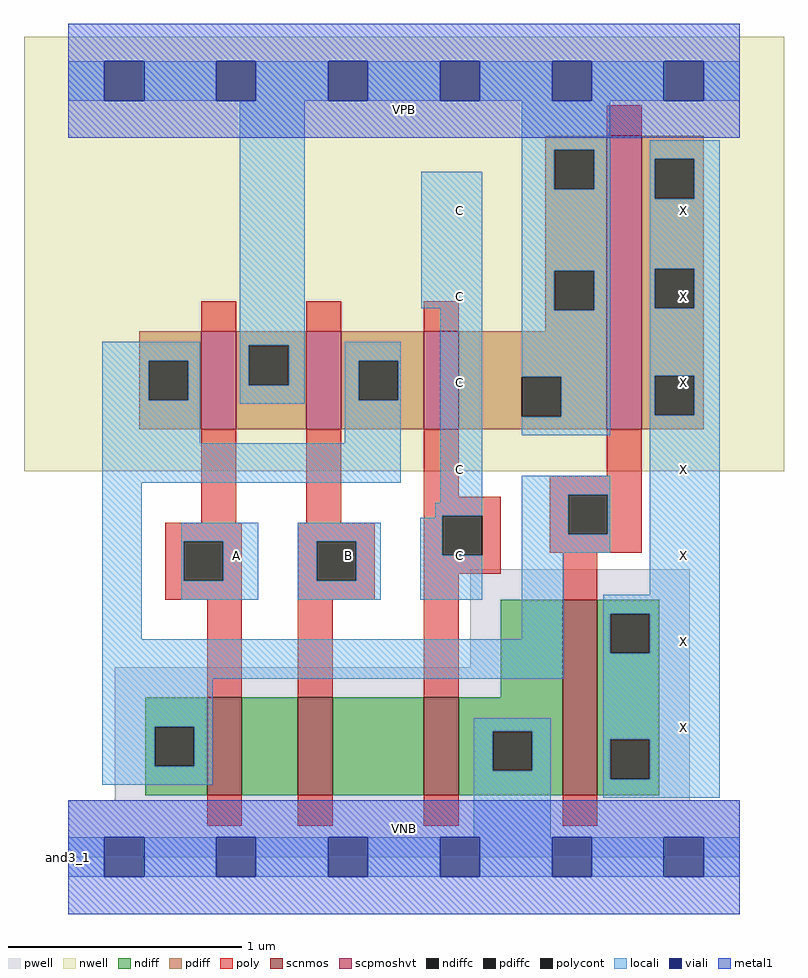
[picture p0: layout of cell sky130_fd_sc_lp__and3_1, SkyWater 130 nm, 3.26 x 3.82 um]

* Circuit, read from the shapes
.subckt sky130_fd_sc_lp__and3_1 A B C VGND VNB VPB VPWR X
XM1 n1 A n2 VNB sky130_fd_pr__nfet_01v8 w=0.42 l=0.15
XM2 n3 B n1 VNB sky130_fd_pr__nfet_01v8 w=0.42 l=0.15
XM3 VGND C n3 VNB sky130_fd_pr__nfet_01v8 w=0.42 l=0.15
XM4 X n2 VGND VNB sky130_fd_pr__nfet_01v8 w=0.84 l=0.15
XM5 VPWR A n2 VPB sky130_fd_pr__pfet_01v8_hvt w=0.42 l=0.15
XM6 n2 B VPWR VPB sky130_fd_pr__pfet_01v8_hvt w=0.42 l=0.15
XM7 VPWR C n2 VPB sky130_fd_pr__pfet_01v8_hvt w=0.42 l=0.15
XM8 X n2 VPWR VPB sky130_fd_pr__pfet_01v8_hvt w=1.26 l=0.15
.ends

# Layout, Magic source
magic
tech sky130A
magscale 1 2
<< nwell >>
rect -38 331 614 704
<< pwell >>
rect 345 163 533 247
rect 40 49 533 163
rect 0 0 576 49
<< scnmos >>
rect 119 53 149 137
rect 197 53 227 137
rect 305 53 335 137
rect 424 53 454 221
<< scpmoshvt >>
rect 114 367 144 451
rect 204 367 234 451
rect 305 367 335 451
rect 462 367 492 619
<< ndiff >>
rect 371 137 424 221
rect 66 112 119 137
rect 66 78 74 112
rect 108 78 119 112
rect 66 53 119 78
rect 149 53 197 137
rect 227 53 305 137
rect 335 108 424 137
rect 335 74 364 108
rect 398 74 424 108
rect 335 53 424 74
rect 454 209 507 221
rect 454 175 465 209
rect 499 175 507 209
rect 454 101 507 175
rect 454 67 465 101
rect 499 67 507 101
rect 454 53 507 67
<< pdiff >>
rect 409 607 462 619
rect 409 573 417 607
rect 451 573 462 607
rect 409 503 462 573
rect 409 469 417 503
rect 451 469 462 503
rect 409 451 462 469
rect 61 426 114 451
rect 61 392 69 426
rect 103 392 114 426
rect 61 367 114 392
rect 144 439 204 451
rect 144 405 155 439
rect 189 405 204 439
rect 144 367 204 405
rect 234 426 305 451
rect 234 392 249 426
rect 283 392 305 426
rect 234 367 305 392
rect 335 412 462 451
rect 335 378 389 412
rect 423 378 462 412
rect 335 367 462 378
rect 492 599 545 619
rect 492 565 503 599
rect 537 565 545 599
rect 492 505 545 565
rect 492 471 503 505
rect 537 471 545 505
rect 492 413 545 471
rect 492 379 503 413
rect 537 379 545 413
rect 492 367 545 379
<< ndiffc >>
rect 74 78 108 112
rect 364 74 398 108
rect 465 175 499 209
rect 465 67 499 101
<< pdiffc >>
rect 417 573 451 607
rect 417 469 451 503
rect 69 392 103 426
rect 155 405 189 439
rect 249 392 283 426
rect 389 378 423 412
rect 503 565 537 599
rect 503 471 537 505
rect 503 379 537 413
<< poly >>
rect 462 619 492 645
rect 114 451 144 477
rect 204 451 234 477
rect 305 451 335 477
rect 114 287 144 367
rect 204 287 234 367
rect 305 309 335 367
rect 462 327 492 367
rect 413 311 492 327
rect 305 293 371 309
rect 83 271 149 287
rect 83 237 99 271
rect 133 237 149 271
rect 83 221 149 237
rect 119 137 149 221
rect 197 271 263 287
rect 197 237 213 271
rect 247 237 263 271
rect 197 221 263 237
rect 305 259 321 293
rect 355 259 371 293
rect 413 277 429 311
rect 463 277 492 311
rect 413 261 492 277
rect 305 243 371 259
rect 197 137 227 221
rect 305 137 335 243
rect 424 221 454 261
rect 119 27 149 53
rect 197 27 227 53
rect 305 27 335 53
rect 424 27 454 53
<< polycont >>
rect 99 237 133 271
rect 213 237 247 271
rect 321 259 355 293
rect 429 277 463 311
<< locali >>
rect 0 649 31 683
rect 65 649 127 683
rect 161 649 223 683
rect 257 649 319 683
rect 353 649 415 683
rect 449 649 511 683
rect 545 649 576 683
rect 29 426 113 442
rect 29 392 69 426
rect 103 392 113 426
rect 29 355 113 392
rect 147 439 203 649
rect 389 607 465 649
rect 303 471 355 588
rect 147 405 155 439
rect 189 405 203 439
rect 147 389 203 405
rect 237 426 285 442
rect 237 392 249 426
rect 283 392 285 426
rect 237 355 285 392
rect 29 321 285 355
rect 29 187 63 321
rect 319 304 355 471
rect 389 573 417 607
rect 451 573 465 607
rect 389 503 465 573
rect 389 469 417 503
rect 451 469 465 503
rect 389 412 465 469
rect 423 378 465 412
rect 389 362 465 378
rect 499 599 559 615
rect 499 565 503 599
rect 537 565 559 599
rect 499 505 559 565
rect 499 471 503 505
rect 537 471 559 505
rect 499 413 559 471
rect 499 379 503 413
rect 537 379 559 413
rect 315 293 355 304
rect 315 291 321 293
rect 97 271 163 287
rect 97 237 99 271
rect 133 237 163 271
rect 97 221 163 237
rect 197 271 268 287
rect 197 237 213 271
rect 247 237 268 271
rect 197 221 268 237
rect 302 259 321 291
rect 302 221 355 259
rect 389 311 465 327
rect 389 277 429 311
rect 463 277 465 311
rect 389 261 465 277
rect 389 187 425 261
rect 499 225 559 379
rect 29 153 425 187
rect 459 209 559 225
rect 459 175 465 209
rect 499 175 559 209
rect 29 112 124 153
rect 29 78 74 112
rect 108 78 124 112
rect 29 62 124 78
rect 348 108 414 119
rect 348 74 364 108
rect 398 74 414 108
rect 348 17 414 74
rect 459 101 559 175
rect 459 67 465 101
rect 499 67 559 101
rect 459 51 559 67
rect 0 -17 31 17
rect 65 -17 127 17
rect 161 -17 223 17
rect 257 -17 319 17
rect 353 -17 415 17
rect 449 -17 511 17
rect 545 -17 576 17
<< viali >>
rect 31 649 65 683
rect 127 649 161 683
rect 223 649 257 683
rect 319 649 353 683
rect 415 649 449 683
rect 511 649 545 683
rect 31 -17 65 17
rect 127 -17 161 17
rect 223 -17 257 17
rect 319 -17 353 17
rect 415 -17 449 17
rect 511 -17 545 17
<< metal1 >>
rect 0 683 576 715
rect 0 649 31 683
rect 65 649 127 683
rect 161 649 223 683
rect 257 649 319 683
rect 353 649 415 683
rect 449 649 511 683
rect 545 649 576 683
rect 0 617 576 649
rect 0 17 576 49
rect 0 -17 31 17
rect 65 -17 127 17
rect 161 -17 223 17
rect 257 -17 319 17
rect 353 -17 415 17
rect 449 -17 511 17
rect 545 -17 576 17
rect 0 -49 576 -17
<< labels >>
flabel pwell s 0 0 576 49 0 FreeSans 200 0 0 0 VNB
port 5 nsew ground bidirectional
flabel nwell s 0 617 576 666 0 FreeSans 200 0 0 0 VPB
port 6 nsew power bidirectional
rlabel comment s 0 0 0 0 4 and3_1
flabel metal1 s 0 617 576 666 0 FreeSans 340 0 0 0 VPWR
port 7 nsew power bidirectional
flabel metal1 s 0 0 576 49 0 FreeSans 340 0 0 0 VGND
port 4 nsew ground bidirectional
flabel locali s 127 242 161 276 0 FreeSans 340 0 0 0 A
port 1 nsew signal input
flabel locali s 223 242 257 276 0 FreeSans 340 0 0 0 B
port 2 nsew signal input
flabel locali s 511 94 545 128 0 FreeSans 340 0 0 0 X
port 8 nsew signal output
flabel locali s 511 168 545 202 0 FreeSans 340 0 0 0 X
port 8 nsew signal output
flabel locali s 511 242 545 276 0 FreeSans 340 0 0 0 X
port 8 nsew signal output
flabel locali s 511 316 545 350 0 FreeSans 340 0 0 0 X
port 8 nsew signal output
flabel locali s 511 390 545 424 0 FreeSans 340 0 0 0 X
port 8 nsew signal output
flabel locali s 511 464 545 498 0 FreeSans 340 0 0 0 X
port 8 nsew signal output
flabel locali s 511 538 545 572 0 FreeSans 340 0 0 0 X
port 8 nsew signal output
flabel locali s 319 242 353 276 0 FreeSans 340 0 0 0 C
port 3 nsew signal input
flabel locali s 319 316 353 350 0 FreeSans 340 0 0 0 C
port 3 nsew signal input
flabel locali s 319 390 353 424 0 FreeSans 340 0 0 0 C
port 3 nsew signal input
flabel locali s 319 464 353 498 0 FreeSans 340 0 0 0 C
port 3 nsew signal input
flabel locali s 319 538 353 572 0 FreeSans 340 0 0 0 C
port 3 nsew signal input
<< properties >>
string LEFsite unit
string LEFclass CORE
string FIXED_BBOX 0 0 576 666
string GDS_FILE $PDKPATH/libs.ref/sky130_fd_sc_lp/gds/sky130_fd_sc_lp.gds
string LEFsymmetry X Y R90
string GDS_END 5113902
string GDS_START 5107694
<< end >>
